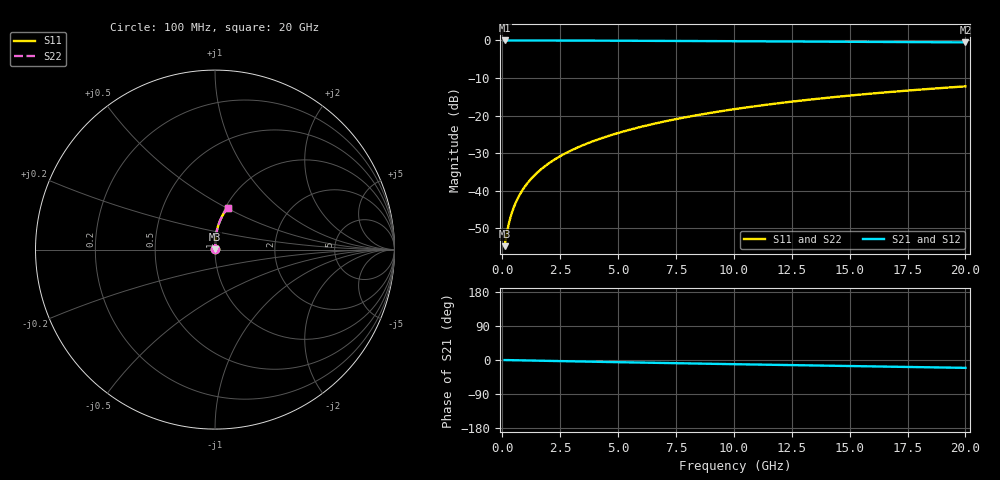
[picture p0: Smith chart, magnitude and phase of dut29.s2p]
! Touchstone file exported from HFSS 2024.1.0
!  File:  C:/UserFiles/LocalFiles/RDL_TSV_Batchsim/temp_RDL_bottom_29_1778692060.aedt
!  Generated:  01:10:29 AM May 14, 2026
!  Design:  RDL_bottom
!  Project:  temp_RDL_bottom_29_1778692060
!  Setup:  Setup1
!  Solution:  Sweep
! Variables:
!  dtsv = 10.80580581um
!  hbump = 3um
!  htsv = 86.29um
!  ldown = 232.51um
!  lrdl = 100um
!  p = 40
!  p1 = 57.34um
!  rhole = 1um
!  t = 450um
!  tdown = 3.53um
!  trdl = 3.915915916um
!  wdown = 20.16um
!  wrdl = 20um
# GHz S MA R 50.000000
! Terminal data exported
! Port[1] = RDL1_T1
! Port[2] = RDL1_T2
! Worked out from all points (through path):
!   200 points, 100 MHz to 20 GHz, reference 50 ohm
!   highest |S21| = -0.01 dB at 100 MHz (marker M1); lowest = -0.5 dB at 20 GHz (marker M2)
!   group delay of S21, straight-line fit = 2.86 ps
!   lowest |S11| = -54.8 dB at 100 MHz (marker M3), VSWR 1.00, Z = 50.1 + j0.121 ohm
!   |S11| at or under -10 dB: start of sweep to end of sweep
!   |S22| runs from -54.8 to -12.2 dB; largest |S21 - S12| = 3.1e-15
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0.1  0.001821 41.6  0.9986 -0.1  0.9986 -0.1  0.001821 41.6
! Gamma 0 0 0 0
! Port Impedance 50 0 50 0
0.2  0.002777 59.6  0.9986 -0.2  0.9986 -0.2  0.002777 59.6
0.3  0.003841 67.7  0.9985 -0.4  0.9985 -0.4  0.003841 67.7
0.4  0.004929 72.2  0.9984 -0.5  0.9984 -0.5  0.004929 72.2
0.5  0.006025 75.2  0.9984 -0.6  0.9984 -0.6  0.006025 75.2
0.6  0.007128 77.3  0.9983 -0.7  0.9983 -0.7  0.007128 77.3
0.8  0.009348 80.1  0.9982 -1.0  0.9982 -1.0  0.009348 80.1
1.1  0.01271 82.5  0.9979 -1.3  0.9979 -1.3  0.01271 82.5
1.5  0.01724 84.4  0.9976 -1.8  0.9976 -1.8  0.01724 84.4
1.8  0.02066 85.2  0.9972 -2.1  0.9972 -2.1  0.02066 85.2
2.1  0.02411 85.7  0.9968 -2.5  0.9968 -2.5  0.02411 85.7
2.7  0.03105 86.4  0.9959 -3.2  0.9959 -3.2  0.03105 86.4
3.5  0.04045 86.8  0.9944 -4.1  0.9944 -4.1  0.04045 86.8
4.2  0.0488 86.9  0.9928 -4.9  0.9928 -4.9  0.0488 86.9
5  0.05848 86.8  0.9908 -5.8  0.9908 -5.8  0.05848 86.8
5.9  0.06954 86.4  0.9883 -6.7  0.9883 -6.7  0.06953 86.4
6.8  0.08074 85.9  0.9857 -7.7  0.9857 -7.7  0.08074 85.9
8.4  0.1009 84.8  0.9809 -9.4  0.9809 -9.4  0.1009 84.8
10.1  0.1225 83.3  0.9755 -11.1  0.9755 -11.1  0.1225 83.3
13.4  0.1643 80.0  0.9647 -14.4  0.9647 -14.4  0.1643 80.0
16.7  0.2052 76.6  0.9534 -17.6  0.9534 -17.6  0.2052 76.6
20  0.2446 73.2  0.9415 -20.7  0.9415 -20.7  0.2446 73.2
